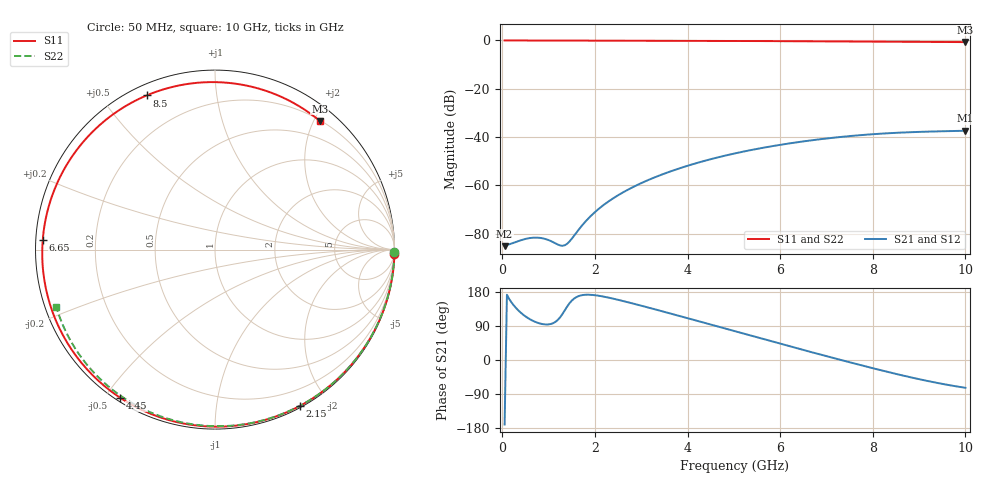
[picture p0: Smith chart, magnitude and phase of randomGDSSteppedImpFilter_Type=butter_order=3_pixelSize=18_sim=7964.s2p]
! freq	dB(S11)	phase(S11)	dB(S12)	phase(S12)
!  dB(S21)	phase(S21)	dB(S22)	phase(S22)
!S-par simulation data
#  GHz  S  DB  R 50
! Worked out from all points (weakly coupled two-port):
!   200 points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, 50 MHz to 10 GHz, reference 50 ohm
!   highest |S21| = -37.41 dB at 10 GHz (marker M1); lowest = -85.2 dB at 50 MHz (marker M2)
!   lowest |S11| = -0.7 dB at 10 GHz (marker M3), VSWR 25.54, Z = 10.5 + j104 ohm
!   |S11| at or under -10 dB: nowhere
!   |S22| runs from -0.5 to 0.0 dB; largest |S21 - S12| = 0
!   S11 on the Smith chart (normalised r, x): 50 MHz: 0, -78; 2.15 GHz: 0.02, -1.68; 4.45 GHz: 0.01, -0.55; 6.65 GHz: 0.02, +0.03; 8.5 GHz: 0.04, +0.65; 10 GHz: 0.21, +2.08
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0.05  -0.00 -1.5  -85.24 -170.5  -85.24 -170.5  -0.01 -0.9
0.75  -0.02 -21.9  -81.70 98.8  -81.70 98.8  -0.02 -13.9
1.55  -0.06 -44.7  -80.90 162.0  -80.90 162.0  -0.04 -28.4
1.6  -0.06 -46.1  -79.62 165.9  -79.62 165.9  -0.04 -29.3
1.75  -0.06 -50.3  -76.02 171.6  -76.02 171.6  -0.04 -32.0
2.15  -0.08 -61.4  -68.73 168.2  -68.73 168.2  -0.05 -39.1
2.7  -0.10 -76.4  -61.96 152.9  -61.96 152.9  -0.06 -48.8
3.4  -0.12 -95.1  -55.89 130.3  -55.89 130.3  -0.08 -60.7
3.9  -0.15 -108.2  -52.53 113.7  -52.53 113.7  -0.09 -69.0
4.45  -0.18 -122.6  -49.45 95.1  -49.45 95.1  -0.11 -77.9
5.05  -0.21 -138.4  -46.68 74.8  -46.68 74.8  -0.13 -87.4
5.9  -0.28 -161.5  -43.57 46.3  -43.57 46.3  -0.17 -100.5
6.65  -0.34 176.9  -41.44 21.6  -41.44 21.6  -0.22 -111.6
6.7  -0.35 175.4  -41.32 19.9  -41.32 19.9  -0.22 -112.4
7.15  -0.39 161.4  -40.30 5.3  -40.30 5.3  -0.25 -118.9
7.55  -0.44 148.3  -39.54 -7.5  -39.54 -7.5  -0.28 -124.7
8.35  -0.53 119.6  -38.42 -32.3  -38.42 -32.3  -0.35 -136.2
8.5  -0.54 113.9  -38.27 -36.7  -38.27 -36.7  -0.36 -138.4
8.9  -0.58 97.9  -37.95 -47.9  -37.95 -47.9  -0.41 -144.1
9.25  -0.62 83.4  -37.74 -57.0  -37.74 -57.0  -0.44 -149.2
9.6  -0.65 68.4  -37.58 -65.3  -37.58 -65.3  -0.49 -154.3
10  -0.68 50.9  -37.41 -73.3  -37.41 -73.3  -0.54 -160.2
